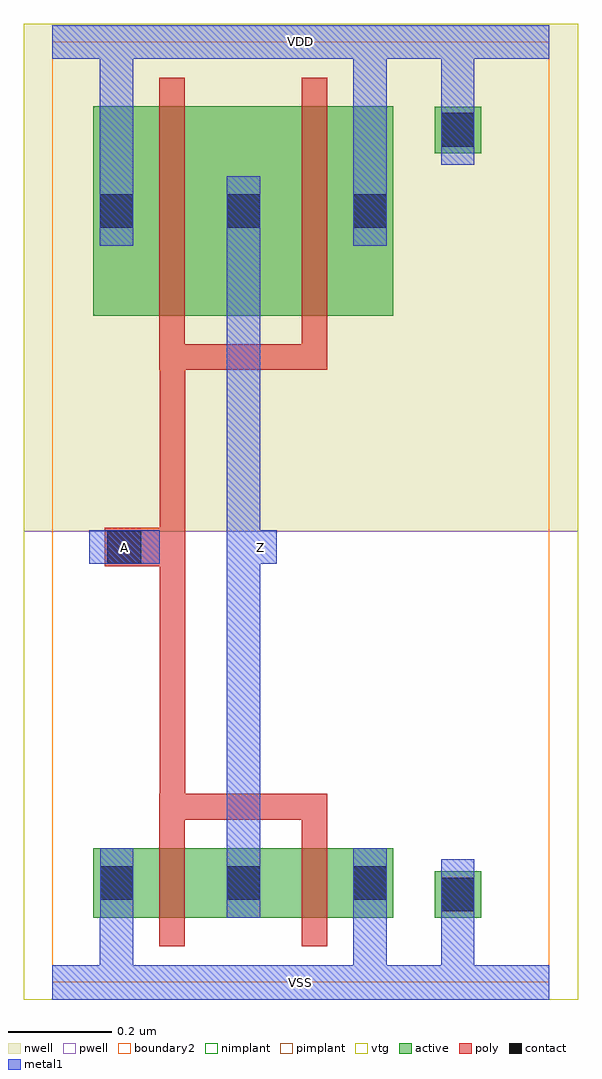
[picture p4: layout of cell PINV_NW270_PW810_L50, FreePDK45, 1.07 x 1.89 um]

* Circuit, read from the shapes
.subckt PINV_NW270_PW810_L50 A VDD VSS Z
M1 Z A VSS VSS nfet w=0.135u l=0.05u
M2 VSS A Z VSS nfet w=0.135u l=0.049u
M3 Z A VDD VDD pfet w=0.405u l=0.05u
M4 VDD A Z VDD pfet w=0.405u l=0.049u
.ends

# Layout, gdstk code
import gdstk
lib = gdstk.Library(unit=1e-6, precision=1e-09)
def R(c, l, rs):  # rectangles x0, y0, x1, y1
    for r in rs: c.add(gdstk.rectangle(r[:2], r[2:], *l))
active = (1, 0)
pwell = (2, 0)
nwell = (3, 0)
nimplant = (4, 0)
pimplant = (5, 0)
vtg = (6, 0)
poly = (9, 0)
contact = (10, 0)
metal1 = (11, 0)
boundary2 = (239, 0)

transmission_gate_nw250_ = lib.new_cell('TRANSMISSION_GATE_NW250_PW500_L50_contact_8')
R(transmission_gate_nw250_, active, [(0,0.022,0.09,0.112)])
R(transmission_gate_nw250_, nwell, [(-0.055,-0.033,0.145,0.168)])
R(transmission_gate_nw250_, pimplant, [(0,0.022,0.09,0.112)])
R(transmission_gate_nw250_, contact, [(0.013,0.035,0.077,0.1)])
R(transmission_gate_nw250_, metal1, [(0.013,0,0.077,0.135)])
R(transmission_gate_nw250_, boundary2, [(-0.055,-0.033,0.145,0.168)])

pinv_nw270_pw810_l50_pmo = lib.new_cell('PINV_NW270_PW810_L50_pmos_m2_w0_405_sm1_dm1_da_p')
R(pinv_nw270_pw810_l50_pmo, active, [(0,0,0.58,0.405)])
R(pinv_nw270_pw810_l50_pmo, nwell, [(-0.08,-0.08,0.66,0.485)])
R(pinv_nw270_pw810_l50_pmo, pimplant, [(0,0,0.58,0.405)])
R(pinv_nw270_pw810_l50_pmo, vtg, [(-0.08,-0.08,0.66,0.485)])
R(pinv_nw270_pw810_l50_pmo, poly, [(0.127,-0.105,0.452,-0.055), (0.127,-0.055,0.177,0.46), (0.403,-0.055,0.452,0.46)])
R(pinv_nw270_pw810_l50_pmo, metal1, [(0.013,0.135,0.077,0.27), (0.258,0.135,0.323,0.27), (0.503,0.135,0.567,0.27)])
R(pinv_nw270_pw810_l50_pmo, boundary2, [(-0.08,-0.105,0.66,0.485)])
pinv_nw270_pw810_l50_pmo.add(gdstk.Reference(transmission_gate_nw250_, (0,0.135)))
pinv_nw270_pw810_l50_pmo.add(gdstk.Reference(transmission_gate_nw250_, (0.245,0.135)))
pinv_nw270_pw810_l50_pmo.add(gdstk.Reference(transmission_gate_nw250_, (0.49,0.135)))
pinv_nw270_pw810_l50_pmo.add(gdstk.Label('G', (0.29,-0.08), layer=9, texttype=0))
pinv_nw270_pw810_l50_pmo.add(gdstk.Label('S', (0.535,0.203), layer=11, texttype=0))
pinv_nw270_pw810_l50_pmo.add(gdstk.Label('S', (0.045,0.203), layer=11, texttype=0))
pinv_nw270_pw810_l50_pmo.add(gdstk.Label('D', (0.29,0.203), layer=11, texttype=0))

c_transmission_gate_nw250_ = lib.new_cell('TRANSMISSION_GATE_NW250_PW500_L50_contact_7')
R(c_transmission_gate_nw250_, active, [(0,0.022,0.09,0.112)])
R(c_transmission_gate_nw250_, pwell, [(-0.055,-0.033,0.145,0.168)])
R(c_transmission_gate_nw250_, nimplant, [(0,0.022,0.09,0.112)])
R(c_transmission_gate_nw250_, contact, [(0.013,0.035,0.077,0.1)])
R(c_transmission_gate_nw250_, metal1, [(0.013,0,0.077,0.135)])
R(c_transmission_gate_nw250_, boundary2, [(-0.055,-0.033,0.145,0.168)])

pinv_nw270_pw810_l50_nmo = lib.new_cell('PINV_NW270_PW810_L50_nmos_m2_w0_135_sm1_dm1_da_p')
R(pinv_nw270_pw810_l50_nmo, active, [(0,0,0.58,0.135)])
R(pinv_nw270_pw810_l50_nmo, pwell, [(-0.08,-0.08,0.66,0.215)])
R(pinv_nw270_pw810_l50_nmo, nimplant, [(0,0,0.58,0.135)])
R(pinv_nw270_pw810_l50_nmo, vtg, [(-0.08,-0.08,0.66,0.215)])
R(pinv_nw270_pw810_l50_nmo, poly, [(0.127,-0.055,0.177,0.19), (0.403,-0.055,0.452,0.19), (0.127,0.19,0.452,0.24)])
R(pinv_nw270_pw810_l50_nmo, metal1, [(0.013,0,0.077,0.135), (0.258,0,0.323,0.135), (0.503,0,0.567,0.135)])
R(pinv_nw270_pw810_l50_nmo, boundary2, [(-0.08,-0.08,0.66,0.24)])
pinv_nw270_pw810_l50_nmo.add(gdstk.Reference(c_transmission_gate_nw250_, (0,0)))
pinv_nw270_pw810_l50_nmo.add(gdstk.Reference(c_transmission_gate_nw250_, (0.245,0)))
pinv_nw270_pw810_l50_nmo.add(gdstk.Reference(c_transmission_gate_nw250_, (0.49,0)))
pinv_nw270_pw810_l50_nmo.add(gdstk.Label('G', (0.29,0.215), layer=9, texttype=0))
pinv_nw270_pw810_l50_nmo.add(gdstk.Label('S', (0.535,0.068), layer=11, texttype=0))
pinv_nw270_pw810_l50_nmo.add(gdstk.Label('S', (0.045,0.068), layer=11, texttype=0))
pinv_nw270_pw810_l50_nmo.add(gdstk.Label('D', (0.29,0.068), layer=11, texttype=0))

c_transmission_gate_nw250__ = lib.new_cell('TRANSMISSION_GATE_NW250_PW500_L50_contact_9')
R(c_transmission_gate_nw250__, active, [(0,0.022,0.09,0.112)])
R(c_transmission_gate_nw250__, nwell, [(-0.055,-0.033,0.145,0.168)])
R(c_transmission_gate_nw250__, nimplant, [(0,0.022,0.09,0.112)])
R(c_transmission_gate_nw250__, contact, [(0.013,0.035,0.077,0.1)])
R(c_transmission_gate_nw250__, metal1, [(0.013,0,0.077,0.135)])
R(c_transmission_gate_nw250__, boundary2, [(-0.055,-0.033,0.145,0.168)])

c_transmission_gate_nw250___ = lib.new_cell('TRANSMISSION_GATE_NW250_PW500_L50_contact_10')
R(c_transmission_gate_nw250___, active, [(0,0.022,0.09,0.112)])
R(c_transmission_gate_nw250___, pwell, [(-0.055,-0.033,0.145,0.168)])
R(c_transmission_gate_nw250___, pimplant, [(0,0.022,0.09,0.112)])
R(c_transmission_gate_nw250___, contact, [(0.013,0.035,0.077,0.1)])
R(c_transmission_gate_nw250___, metal1, [(0.013,0,0.077,0.135)])
R(c_transmission_gate_nw250___, boundary2, [(-0.055,-0.033,0.145,0.168)])

pinv_nw180_pw270_l50_con = lib.new_cell('PINV_NW180_PW270_L50_contact_11')
R(pinv_nw180_pw270_l50_con, poly, [(0.03,0,0.105,0.075)])
R(pinv_nw180_pw270_l50_con, contact, [(0.035,0.005,0.1,0.07)])
R(pinv_nw180_pw270_l50_con, metal1, [(0,0.005,0.135,0.07)])
R(pinv_nw180_pw270_l50_con, boundary2, [(0,0,0.135,0.075)])

pinv_nw270_pw810_l50_cor = lib.new_cell('PINV_NW270_PW810_L50_core')
R(pinv_nw270_pw810_l50_cor, pwell, [(-0.055,-0.033,1.018,0.873)])
R(pinv_nw270_pw810_l50_cor, nwell, [(-0.055,0.873,1.018,1.855)])
R(pinv_nw270_pw810_l50_cor, vtg, [(-0.055,-0.033,1.018,0.873), (-0.055,0.873,1.018,1.855)])
R(pinv_nw270_pw810_l50_cor, poly, [(0.208,0.365,0.258,1.185), (0.14,0.805,0.208,0.88)])
R(pinv_nw270_pw810_l50_cor, metal1, [(0,-0.033,0.962,0.033), (0.092,-0.033,0.157,0.125), (0.583,-0.033,0.647,0.125), (0.753,0,0.817,0.17), (0.338,0.125,0.403,1.56), (0.072,0.81,0.208,0.875), (0.37,0.81,0.435,0.875), (0.092,1.425,0.157,1.852), (0.583,1.425,0.647,1.852), (0.753,1.65,0.817,1.82), (0,1.787,0.962,1.852)])
R(pinv_nw270_pw810_l50_cor, boundary2, [(0,0,0.962,1.82), (0,0,0.962,1.82)])
pinv_nw270_pw810_l50_cor.add(gdstk.Reference(pinv_nw270_pw810_l50_pmo, (0.08,1.29)))
pinv_nw270_pw810_l50_cor.add(gdstk.Reference(pinv_nw270_pw810_l50_nmo, (0.08,0.125)))
pinv_nw270_pw810_l50_cor.add(gdstk.Reference(c_transmission_gate_nw250__, (0.74,1.582)))
pinv_nw270_pw810_l50_cor.add(gdstk.Reference(c_transmission_gate_nw250___, (0.74,0.103)))
pinv_nw270_pw810_l50_cor.add(gdstk.Reference(pinv_nw180_pw270_l50_con, (0.072,0.805)))
pinv_nw270_pw810_l50_cor.add(gdstk.Label('A', (0.14,0.842), layer=11, texttype=0))
pinv_nw270_pw810_l50_cor.add(gdstk.Label('Z', (0.403,0.842), layer=11, texttype=0))
pinv_nw270_pw810_l50_cor.add(gdstk.Label('gnd', (0.481,0), layer=11, texttype=0))
pinv_nw270_pw810_l50_cor.add(gdstk.Label('vdd', (0.481,1.82), layer=11, texttype=0))

pinv_nw270_pw810_l50 = lib.new_cell('PINV_NW270_PW810_L50')
R(pinv_nw270_pw810_l50, metal1, [(0,-0.033,0.962,0.033), (0.072,0.81,0.208,0.875), (0.37,0.81,0.435,0.875), (0,1.787,0.962,1.852)])
R(pinv_nw270_pw810_l50, boundary2, [(0,0,0.962,1.82)])
pinv_nw270_pw810_l50.add(gdstk.Reference(pinv_nw270_pw810_l50_cor, (0,0)))
pinv_nw270_pw810_l50.add(gdstk.Label('A', (0.14,0.842), layer=11, texttype=0))
pinv_nw270_pw810_l50.add(gdstk.Label('Z', (0.403,0.842), layer=11, texttype=0))
pinv_nw270_pw810_l50.add(gdstk.Label('VDD', (0.481,1.82), layer=11, texttype=0))
pinv_nw270_pw810_l50.add(gdstk.Label('VSS', (0.481,0), layer=11, texttype=0))

lib.write_gds('PINV_NW270_PW810_L50.gds')
